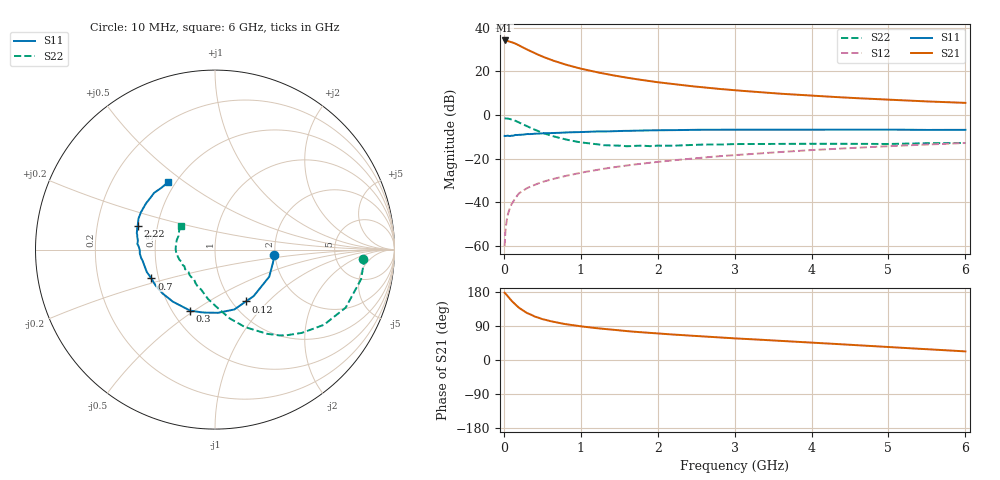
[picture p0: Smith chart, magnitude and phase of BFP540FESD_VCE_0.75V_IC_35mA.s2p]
! Infineon Technologies  Discrete & RF Semiconductors
! BFP540FESD
! VCE = 0.75 V,  IC =  35 mA
! Common Emitter S-Parameters:  Nov 2015
# GHz  S  MA  R  50
!  f  S11  S21  S12  S22
! GHz  MAG  ANG  MAG  ANG  MAG  ANG  MAG  ANG
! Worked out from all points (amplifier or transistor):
!   210 points, 10 MHz to 6 GHz, reference 50 ohm
!   highest |S21| = 34.1 dB at 10 MHz (marker M1)
!   |S21| within 3 dB of that: start of sweep to 238.4 MHz
!   unconditionally stable (mu >= 1): start of sweep to 26.06 MHz; 1.214 GHz to end of sweep
!   at 185 MHz: K = 0.47, MSG = 34.2 dB, |S12| = -36.4 dB
!   at 1.52 GHz: K = 1.04, MAG = 19.3 dB, |S12| = -23.4 dB
!   at 6 GHz: K = 1.16, MAG = 6.7 dB, |S12| = -12.8 dB
!   S11 on the Smith chart (normalised r, x): 10 MHz: 1.98, -0.14; 120 MHz: 1.15, -0.75; 300 MHz: 0.61, -0.48; 700 MHz: 0.46, -0.17; 2.22 GHz: 0.39, +0.13; 6 GHz: 0.46, +0.43
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0.01  0.3325 -5.5  50.66 177.5  0.001 94.8  0.8271 -3.7
0.02  0.331 -13.0  49.15 175.6  0.0021 99.7  0.8344 -3.6
0.05  0.3378 -26.6  49.09 168.3  0.0051 88.7  0.8303 -11.5
0.1  0.337 -50.3  46.52 156.4  0.0091 77.8  0.7968 -23.9
0.12  0.3364 -59.2  44.95 152.4  0.0104 75.3  0.77 -28.0
0.15  0.3505 -72.1  43.04 146.0  0.0125 72.6  0.7377 -34.6
0.2  0.3525 -87.2  38.9 137.3  0.0163 70.3  0.6704 -43.8
0.26  0.3582 -103.3  34.3 129.0  0.0191 66.2  0.5989 -53.0
0.3  0.3669 -112.3  31.56 124.1  0.0212 66.0  0.5532 -58.1
0.4  0.3731 -128.9  25.89 114.8  0.0252 63.8  0.4623 -68.9
0.5  0.381 -140.2  21.73 107.9  0.0294 62.5  0.3924 -77.9
0.6  0.3869 -148.8  18.53 102.8  0.033 63.0  0.3417 -84.7
0.7  0.3893 -155.6  16.19 98.5  0.0365 63.6  0.3061 -91.1
0.8  0.4 -161.9  14.26 94.7  0.0403 63.9  0.2772 -98.2
1.02  0.4074 -170.9  11.28 88.4  0.0485 63.7  0.2344 -110.1
1.5  0.4335 175.9  7.617 78.1  0.0665 62.4  0.2002 -135.1
2.02  0.4488 165.4  5.563 69.6  0.0852 59.6  0.199 -154.9
2.22  0.4502 163.0  5.039 67.0  0.0926 58.7  0.1991 -160.3
3.1  0.4619 152.4  3.568 56.1  0.1241 53.6  0.2167 -175.6
4.1  0.4618 144.5  2.705 44.8  0.161 46.6  0.2194 171.3
5.1  0.4618 135.9  2.201 33.1  0.1971 37.8  0.2188 157.7
6  0.4575 125.1  1.894 22.7  0.2291 29.8  0.2293 144.6
